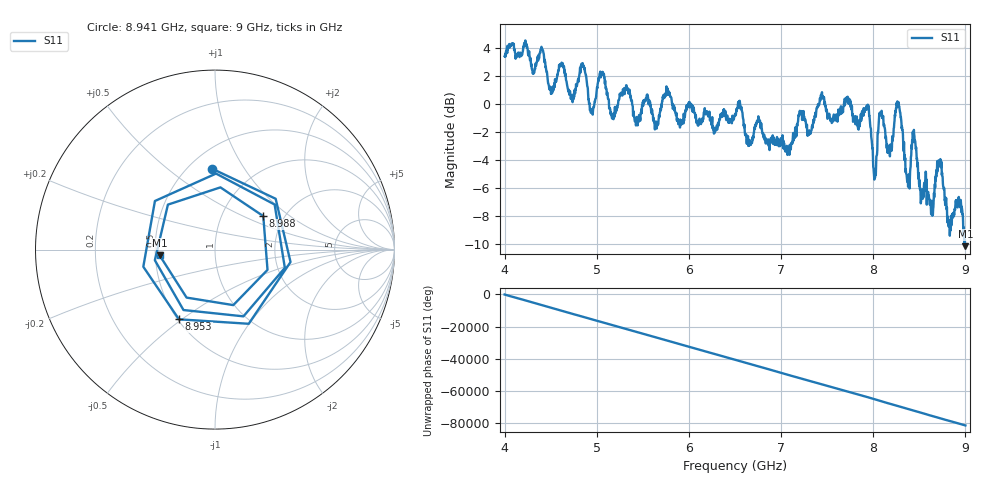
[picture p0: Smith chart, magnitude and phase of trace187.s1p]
! Created with skrf 1.8.0 (http://scikit-rf.org).
# Hz S RI R 50.0
!freq ReS11 ImS11
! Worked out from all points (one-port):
!   1601 points, 4 GHz to 9 GHz, reference 50 ohm
!   lowest |S11| = -10.2 dB at 9 GHz (marker M1), VSWR 1.90, Z = 26.4 - j1.85 ohm
!   |S11| at or under -10 dB: 8.990423 GHz to 8.991659 GHz (1.236 MHz wide, 0.0137 % of centre); 8.995887 GHz to end of sweep
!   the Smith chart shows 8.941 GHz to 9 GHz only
!   S11 on the Smith chart (normalised r, x): 8.941 GHz: 0.64, +0.73; 8.953 GHz: 0.51, -0.49; 8.988 GHz: 1.57, +0.66; 9 GHz: 0.53, -0.04
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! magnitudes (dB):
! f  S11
! 4 GHz  3.4
! 4.403 GHz  4.0
! 4.509 GHz  0.8
! 4.625 GHz  2.7
! 4.731 GHz  0.5
! 4.853 GHz  2.7
! 4.944 GHz  -0.5
! 5.053 GHz  2.1
! 5.159 GHz  -0.8
! 5.25 GHz  0.7
! 5.875 GHz  -1.2
! 6.5 GHz  -0.7
! 7.125 GHz  -2.6
! 7.75 GHz  0.0
! 7.938 GHz  -0.1
! 8.019 GHz  -5.3
! 8.084 GHz  -0.7
! 8.178 GHz  -3.1
! 8.272 GHz  -0.1
! 8.375 GHz  -5.2
! 8.441 GHz  -1.8
! 8.628 GHz  -7.9
! 8.716 GHz  -4.1
! 8.828 GHz  -8.4
! 8.941 GHz  -6.9
! 8.953 GHz  -7.2
! 8.988 GHz  -9.7
! 9 GHz  -10.2
